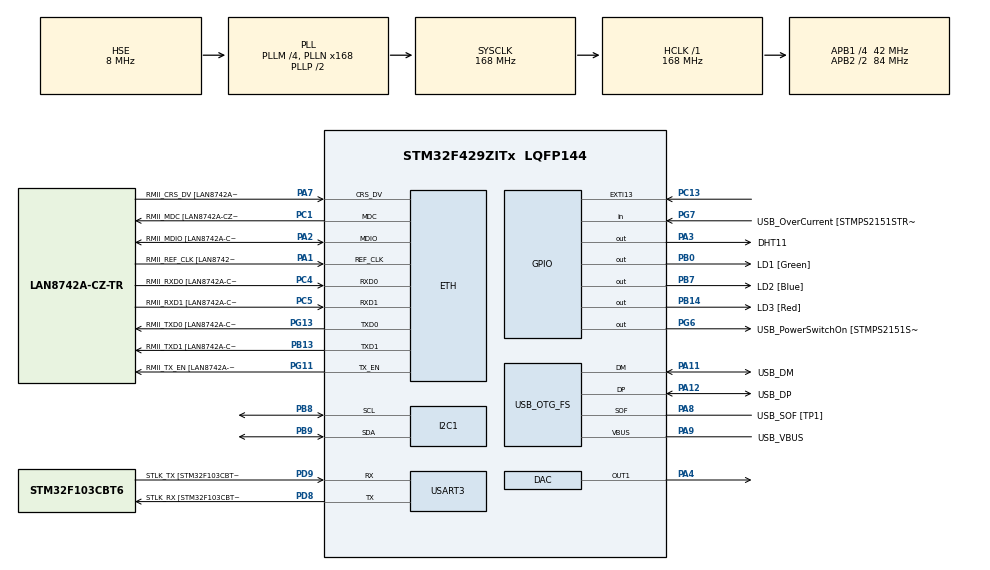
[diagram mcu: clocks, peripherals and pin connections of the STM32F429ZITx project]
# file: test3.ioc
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ADC1.Channel-4\#ChannelRegularConversion=ADC_CHANNEL_TEMPSENSOR
ADC1.NbrOfConversionFlag=1
ADC1.Rank-4\#ChannelRegularConversion=1
ADC1.SamplingTime-4\#ChannelRegularConversion=ADC_SAMPLETIME_3CYCLES
ADC1.master=1
ETH.MediaInterface=HAL_ETH_RMII_MODE
ETH.PHY_Name=LAN8742A_PHY_ADDRESS
ETH.PHY_Value=0
ETH.PhyAddress=0
Mcu.Family=STM32F4
Mcu.Name=STM32F429ZITx
Mcu.Package=LQFP144
NVIC.PriorityGroup=NVIC_PRIORITYGROUP_4
NVIC.TIM3_IRQn=true\:0\:0\:false\:true\:true\:1\:true\:true\:true
PA1.GPIO_Label=RMII_REF_CLK [LAN8742A-CZ-TR_REFCLK0]
PA1.Mode=RMII
PA1.Signal=ETH_REF_CLK
PA10.GPIO_Label=USB_ID
PA10.Signal=USB_OTG_FS_ID
PA11.GPIO_Label=USB_DM
PA11.Mode=Device_Only
PA11.Signal=USB_OTG_FS_DM
PA12.GPIO_Label=USB_DP
PA12.Mode=Device_Only
PA12.Signal=USB_OTG_FS_DP
PA13.GPIO_Label=TMS
PA13.Mode=Serial_Wire
PA13.Signal=SYS_JTMS-SWDIO
PA14.GPIO_Label=TCK
PA14.Mode=Serial_Wire
PA14.Signal=SYS_JTCK-SWCLK
PA2.GPIO_Label=RMII_MDIO [LAN8742A-CZ-TR_MDIO]
PA2.Mode=RMII
PA2.Signal=ETH_MDIO
PA3.GPIO_Label=DHT11
PA3.PinState=GPIO_PIN_SET
PA3.Signal=GPIO_Output
PA4.Signal=COMP_DAC1_group
PA7.GPIO_Label=RMII_CRS_DV [LAN8742A-CZ-TR_CRS_DV]
PA7.Mode=RMII
PA7.Signal=ETH_CRS_DV
PA8.GPIO_Label=USB_SOF [TP1]
PA8.Mode=Activate_SOF_FS
PA8.Signal=USB_OTG_FS_SOF
PA9.GPIO_Label=USB_VBUS
PA9.Mode=Activate_VBUS
PA9.Signal=USB_OTG_FS_VBUS
PB0.GPIO_Label=LD1 [Green]
PB0.Signal=GPIO_Output
PB13.GPIO_Label=RMII_TXD1 [LAN8742A-CZ-TR_TXD1]
PB13.Mode=RMII
PB13.Signal=ETH_TXD1
PB14.GPIO_Label=LD3 [Red]
PB14.Signal=GPIO_Output
PB7.GPIO_Label=LD2 [Blue]
PB7.Signal=GPIO_Output
PB8.Mode=I2C
PB8.Signal=I2C1_SCL
PB9.Mode=I2C
PB9.Signal=I2C1_SDA
PC1.GPIO_Label=RMII_MDC [LAN8742A-CZ-TR_MDC]
PC1.Mode=RMII
PC1.Signal=ETH_MDC
PC13.Signal=GPXTI13
PC14/OSC32_IN.Mode=LSE-External-Oscillator
PC14/OSC32_IN.Signal=RCC_OSC32_IN
PC15/OSC32_OUT.Mode=LSE-External-Oscillator
PC15/OSC32_OUT.Signal=RCC_OSC32_OUT
PC4.GPIO_Label=RMII_RXD0 [LAN8742A-CZ-TR_RXD0]
PC4.Mode=RMII
PC4.Signal=ETH_RXD0
PC5.GPIO_Label=RMII_RXD1 [LAN8742A-CZ-TR_RXD1]
PC5.Mode=RMII
PC5.Signal=ETH_RXD1
PD8.GPIO_Label=STLK_RX [STM32F103CBT6_PA3]
PD8.Mode=Asynchronous
PD8.Signal=USART3_TX
PD9.GPIO_Label=STLK_TX [STM32F103CBT6_PA2]
PD9.Mode=Asynchronous
PD9.Signal=USART3_RX
PG11.GPIO_Label=RMII_TX_EN [LAN8742A-CZ-TR_TXEN]
PG11.Mode=RMII
PG11.Signal=ETH_TX_EN
PG13.GPIO_Label=RMII_TXD0 [LAN8742A-CZ-TR_TXD0]
PG13.Mode=RMII
PG13.Signal=ETH_TXD0
PG6.GPIO_Label=USB_PowerSwitchOn [STMPS2151STR_EN]
PG6.Signal=GPIO_Output
PG7.GPIO_Label=USB_OverCurrent [STMPS2151STR_FAULT]
PG7.Signal=GPIO_Input
PH0/OSC_IN.GPIO_Label=MCO [STM32F103CBT6_PA8]
PH0/OSC_IN.Mode=HSE-External-Clock-Source
PH0/OSC_IN.Signal=RCC_OSC_IN
PH1/OSC_OUT.Mode=HSE-External-Clock-Source
PH1/OSC_OUT.Signal=RCC_OSC_OUT
ProjectManager.HeapSize=0x200
ProjectManager.StackSize=0x400
ProjectManager.TargetToolchain=STM32CubeIDE
RCC.48MHZClocksFreq_Value=48000000
RCC.AHBFreq_Value=168000000
RCC.APB1CLKDivider=RCC_HCLK_DIV4
RCC.APB1Freq_Value=42000000
RCC.APB1TimFreq_Value=84000000
RCC.APB2CLKDivider=RCC_HCLK_DIV2
RCC.APB2Freq_Value=84000000
RCC.APB2TimCLKDivider=2
RCC.APB2TimFreq_Value=168000000
RCC.CortexFreq_Value=168000000
RCC.HCLKFreq_Value=168000000
RCC.HSE_VALUE=8000000
RCC.HSI_VALUE=16000000
RCC.PLLM=4
RCC.PLLMUL=RCC_PLL_MUL9
RCC.PLLN=168
RCC.PLLQ=7
RCC.PRESCALERUSB=RCC_USBCLKSOURCE_PLL_DIV1_5
RCC.RCC_RTC_Clock_Source=RCC_RTCCLKSOURCE_LSE
RCC.RCC_RTC_Clock_SourceVirtual=RCC_RTCCLKSOURCE_LSE
RCC.SYSCLKFreq_VALUE=168000000
RCC.SYSCLKSource=RCC_SYSCLKSOURCE_PLLCLK
RCC.SYSCLKSourceVirtual=RCC_SYSCLKSOURCE_PLLCLK
RCC.USBFreq_Value=48000000
RCC.VCOOutputFreq_Value=336000000
RTC.HourFormat=RTC_HOURFORMAT_24
SH.COMP_DAC1_group.0=DAC_OUT1,DAC_OUT1
TIM3.Period=10000-1
TIM3.Prescaler=8400-1
USART3.VirtualMode=VM_ASYNC
USB_OTG_FS.VirtualMode=Device_Only
VP_ADC1_TempSens_Input.Mode=IN-TempSens
VP_RTC_VS_RTC_Activate.Mode=RTC_Enabled
VP_RTC_VS_RTC_Calendar.Mode=RTC_Calendar
VP_TIM3_VS_ClockSourceINT.Mode=Internal
board=NUCLEO-F429ZI

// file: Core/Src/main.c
/* USER CODE BEGIN Header */
/**
  ******************************************************************************
  * @file           : main.c
  * @brief          : Main program body
  ******************************************************************************
  * @attention
  *
  * Copyright (c) 2023 STMicroelectronics.
  * All rights reserved.
  *
  * This software is licensed under terms that can be found in the LICENSE file
  * in the root directory of this software component.
  * If no LICENSE file comes with this software, it is provided AS-IS.
  *
  ******************************************************************************
  */
/* USER CODE END Header */
#include "main.h"
#include "adc.h"
#include "dac.h"
#include "eth.h"
#include "i2c.h"
#include "rtc.h"
#include "tim.h"
#include "usart.h"
#include "usb_otg.h"
#include "gpio.h"

/* USER CODE BEGIN Includes */
#include "stdio.h"
#include "string.h"

#define LCD_ADDR (0x27 << 1)
/* USER CODE END Includes */

/* USER CODE BEGIN PV */
extern void I2C_Scan(void);
void init();
/* USER CODE END PV */

void SystemClock_Config(void);
static void MX_NVIC_Init(void);
/* USER CODE BEGIN PFP */
void LCD_SendCommand(uint8_t lcd_addr, uint8_t cmd);
void LCD_SendString(uint8_t lcd_addr, char *str);

int _write(int file, char *ptr, int len)
{
	HAL_UART_Transmit(&huart3, (uint8_t *)ptr, len, 500);

	return len;
}
int _io_putchar(int ch)
{
	HAL_UART_Transmit(&huart3, (uint8_t *)&ch, 1, 1000);
	return ch;
}

/* USER CODE END PFP */

/* USER CODE BEGIN 0 */

char showTime[30] = {0};
char ampm[2][3] = {"AM", "PM"};

void get_time(void)
{
	RTC_TimeTypeDef sTime;
	RTC_DateTypeDef sDate;

	HAL_RTC_GetTime(&hrtc,&sTime, RTC_FORMAT_BIN);
	HAL_RTC_GetDate(&hrtc,&sDate, RTC_FORMAT_BIN);

	sprintf((char*)showTime, "%02d:%02d:%02d         ", sTime.Hours, sTime.Minutes, sTime.Seconds);
}

uint8_t Rh_byte1, Rh_byte2, Temp_byte1, Temp_byte2;
uint16_t SUM, RH, TEMP;

float Temperature = 0;
float Humidity = 0;
uint8_t Presence = 0;

void delay_us(uint16_t time) {
	__HAL_TIM_SET_COUNTER(&htim3, 0);
	while((__HAL_TIM_GET_COUNTER(&htim3))<time);
}
void Set_Pin_Output (GPIO_TypeDef *GPIOx, uint16_t GPIO_Pin)
{
	GPIO_InitTypeDef GPIO_InitStruct = {0};
	GPIO_InitStruct.Pin = GPIO_Pin;
	GPIO_InitStruct.Mode = GPIO_MODE_OUTPUT_PP;
	GPIO_InitStruct.Speed = GPIO_SPEED_FREQ_LOW;
	HAL_GPIO_Init(GPIOx, &GPIO_InitStruct);
}

void Set_Pin_Input (GPIO_TypeDef *GPIOx, uint16_t GPIO_Pin)
{
	GPIO_InitTypeDef GPIO_InitStruct = {0};
	GPIO_InitStruct.Pin = GPIO_Pin;
	GPIO_InitStruct.Mode = GPIO_MODE_INPUT;
	GPIO_InitStruct.Pull = GPIO_PULLUP;
	HAL_GPIO_Init(GPIOx, &GPIO_InitStruct);
}
void DHT11_Start (void)
{
	Set_Pin_Output (DHT11_GPIO_Port, DHT11_Pin);  // set the pin as output
	HAL_GPIO_WritePin (DHT11_GPIO_Port, DHT11_Pin, 0);   // pull the pin low
	delay_us(18000);   // wait for 18ms
	Set_Pin_Input(DHT11_GPIO_Port, DHT11_Pin);    // set as input
}
uint8_t DHT11_Check_Response (void)
{
	uint8_t Response = 0;
	delay_us (40);
	if (!(HAL_GPIO_ReadPin (DHT11_GPIO_Port, DHT11_Pin)))
	{
		delay_us (80);
		if ((HAL_GPIO_ReadPin (DHT11_GPIO_Port, DHT11_Pin))) Response = 1;
		else Response = -1;
	}
	while ((HAL_GPIO_ReadPin (DHT11_GPIO_Port, DHT11_Pin)));   // wait for the pin to go low

	return Response;
}
uint8_t DHT11_Read (void)
{
	uint8_t i,j;
	for (j=0;j<8;j++)
	{
		while (!(HAL_GPIO_ReadPin (DHT11_GPIO_Port, DHT11_Pin)));   // wait for the pin to go high
		delay_us (40);   // wait for 40 us
		if (!(HAL_GPIO_ReadPin (DHT11_GPIO_Port, DHT11_Pin)))   // if the pin is low
		{
			i&= ~(1<<(7-j));   // write 0
		}
		else i|= (1<<(7-j));  // if the pin is high, write 1
		while ((HAL_GPIO_ReadPin (DHT11_GPIO_Port, DHT11_Pin)));  // wait for the pin to go low
	}
	return i;
}
/* USER CODE END 0 */

int main(void)
{

  /* MCU Configuration--------------------------------------------------------*/

  /* Reset of all peripherals, Initializes the Flash interface and the Systick. */
  HAL_Init();

  /* Configure the system clock */
  SystemClock_Config();

  /* Initialize all configured peripherals */
  MX_GPIO_Init();
  MX_ETH_Init();
  MX_USART3_UART_Init();
  MX_USB_OTG_FS_PCD_Init();
  MX_ADC1_Init();
  MX_DAC_Init();
  MX_RTC_Init();
  MX_I2C1_Init();
  MX_TIM3_Init();

  /* Initialize interrupts */
  MX_NVIC_Init();
  /* USER CODE BEGIN 2 */
  HAL_TIM_Base_Start_IT(&htim3);
  init();
  /* USER CODE END 2 */

  /* Infinite loop */
  /* USER CODE BEGIN WHILE */
  while (1)
  {
	  init();
    /* USER CODE END WHILE */

  }
}

void SystemClock_Config(void)
{
  RCC_OscInitTypeDef RCC_OscInitStruct = {0};
  RCC_ClkInitTypeDef RCC_ClkInitStruct = {0};

  /** Configure the main internal regulator output voltage
  */
  __HAL_RCC_PWR_CLK_ENABLE();
  __HAL_PWR_VOLTAGESCALING_CONFIG(PWR_REGULATOR_VOLTAGE_SCALE1);

  /** Initializes the RCC Oscillators according to the specified parameters
  * in the RCC_OscInitTypeDef structure.
  */
  RCC_OscInitStruct.OscillatorType = RCC_OSCILLATORTYPE_HSE|RCC_OSCILLATORTYPE_LSE;
  RCC_OscInitStruct.HSEState = RCC_HSE_BYPASS;
  RCC_OscInitStruct.LSEState = RCC_LSE_ON;
  RCC_OscInitStruct.PLL.PLLState = RCC_PLL_ON;
  RCC_OscInitStruct.PLL.PLLSource = RCC_PLLSOURCE_HSE;
  RCC_OscInitStruct.PLL.PLLM = 4;
  RCC_OscInitStruct.PLL.PLLN = 168;
  RCC_OscInitStruct.PLL.PLLP = RCC_PLLP_DIV2;
  RCC_OscInitStruct.PLL.PLLQ = 7;
  if (HAL_RCC_OscConfig(&RCC_OscInitStruct) != HAL_OK)
  {
    Error_Handler();
  }

  /** Initializes the CPU, AHB and APB buses clocks
  */
  RCC_ClkInitStruct.ClockType = RCC_CLOCKTYPE_HCLK|RCC_CLOCKTYPE_SYSCLK
                              |RCC_CLOCKTYPE_PCLK1|RCC_CLOCKTYPE_PCLK2;
  RCC_ClkInitStruct.SYSCLKSource = RCC_SYSCLKSOURCE_PLLCLK;
  RCC_ClkInitStruct.AHBCLKDivider = RCC_SYSCLK_DIV1;
  RCC_ClkInitStruct.APB1CLKDivider = RCC_HCLK_DIV4;
  RCC_ClkInitStruct.APB2CLKDivider = RCC_HCLK_DIV2;

  if (HAL_RCC_ClockConfig(&RCC_ClkInitStruct, FLASH_LATENCY_5) != HAL_OK)
  {
    Error_Handler();
  }
}

/**
  * @brief NVIC Configuration.
  * @retval None
  */
static void MX_NVIC_Init(void)
{
  /* TIM3_IRQn interrupt configuration */
  HAL_NVIC_SetPriority(TIM3_IRQn, 0, 0);
  HAL_NVIC_EnableIRQ(TIM3_IRQn);
}

/* USER CODE BEGIN 4 */
void HAL_TIM_PeriodElapsedCallback(TIM_HandleTypeDef *hrim)
{
	uwTick += uwTickFreq;
	if ((uwTick%10000)==0)
	{
	  DHT11_Start();
	  Presence = DHT11_Check_Response();
	  Rh_byte1 = DHT11_Read ();
	  Rh_byte2 = DHT11_Read ();
	  Temp_byte1 = DHT11_Read ();
	  Temp_byte2 = DHT11_Read ();
	  SUM = DHT11_Read();

	  TEMP = Temp_byte1;
	  RH = Rh_byte1;

	  Temperature = (float) TEMP;
	  Humidity = (float) RH;

	  char dhtvalue[30];
	  sprintf(dhtvalue, "%3.1f, %2.1f        ", Temperature, Humidity);

	  LCD_SendCommand(LCD_ADDR, 0b10000000);
	  LCD_SendString(LCD_ADDR, dhtvalue);
	}

}

/* USER CODE END 4 */

void Error_Handler(void)
{
  __disable_irq();
  while (1)
  {
  }
}
